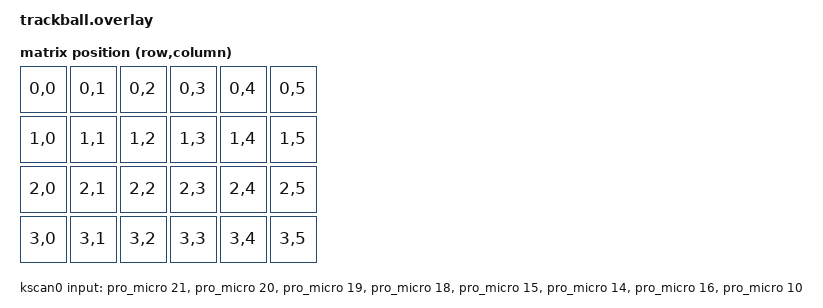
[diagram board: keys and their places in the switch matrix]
/*
 * Copyright (c) 2020 ZMK Contributors
 *
 * SPDX-License-Identifier: MIT
 */

#include <dt-bindings/zmk/matrix_transform.h>

#define INPUT_EV_KEY 0x01               /**< Key event */
#define INPUT_EV_REL 0x02               /**< Relative coordinate event */
#define INPUT_EV_ABS 0x03               /**< Absolute coordinate event */
#define INPUT_EV_MSC 0x04               /**< Miscellaneous event */
#define INPUT_EV_VENDOR_START 0xf0      /**< Vendor specific event start */
#define INPUT_EV_VENDOR_STOP 0xff       /**< Vendor specific event stop */

#define INPUT_REL_X 0x00                /**< Relative X coordinate */
#define INPUT_REL_Y 0x01                /**< Relative Y coordinate */
#define INPUT_REL_WHEEL 0x08            /**< Relative wheel coordinate */
#define INPUT_REL_HWHEEL 0x06           /**< Relative horizontal wheel coordinate */
#define INPUT_REL_MISC 0x09             /**< Relative misc coordinate */

/ {
    chosen {
        zmk,kscan = &kscan0;
        zmk,matrix-transform = &default_transform;
    };

    kscan0: kscan_0 {
        compatible = "zmk,kscan-gpio-direct";
        wakeup-source;
        label = "KSCAN";



        input-gpios
            = <&pro_micro 21 (GPIO_ACTIVE_LOW | GPIO_PULL_UP)>
            , <&pro_micro 20 (GPIO_ACTIVE_LOW | GPIO_PULL_UP)>
            , <&pro_micro 19 (GPIO_ACTIVE_LOW | GPIO_PULL_UP)>
            , <&pro_micro 18 (GPIO_ACTIVE_LOW | GPIO_PULL_UP)>
            , <&pro_micro 15 (GPIO_ACTIVE_LOW | GPIO_PULL_UP)>
            , <&pro_micro 14 (GPIO_ACTIVE_LOW | GPIO_PULL_UP)>
            , <&pro_micro 16 (GPIO_ACTIVE_LOW | GPIO_PULL_UP)>
            , <&pro_micro 10 (GPIO_ACTIVE_LOW | GPIO_PULL_UP)>
            ;
    };

    default_transform: keymap_transform_0 {
        compatible = "zmk,matrix-transform";
        columns = <6>;
        rows = <1>;
        map = <
            RC(0, 0) RC(0, 1) RC(0, 2) RC(0, 3) RC(0, 4) RC(0, 5)
            RC(1, 0) RC(1, 1) RC(1, 2) RC(1, 3) RC(1, 4) RC(1, 5)
            RC(2, 0) RC(2, 1) RC(2, 2) RC(2, 3) RC(2, 4) RC(2, 5)
            RC(3, 0) RC(3, 1) RC(3, 2) RC(3, 3) RC(3, 4) RC(3, 5)
        >;
    };
};

&pinctrl {
    spi0_default: spi0_default {
        group1 {
            psels = <NRF_PSEL(SPIM_SCK, 0, 8)>,
                <NRF_PSEL(SPIM_MOSI, 0, 6)>,
                <NRF_PSEL(SPIM_MISO, 0, 6)>;
        };
    };

    spi0_sleep: spi0_sleep {
        group1 {
            psels = <NRF_PSEL(SPIM_SCK, 0, 8)>,
                <NRF_PSEL(SPIM_MOSI, 0, 6)>,
                <NRF_PSEL(SPIM_MISO, 0, 6)>;
            low-power-enable;
        };
    };
};

&spi0 {
    status = "okay";
    compatible = "nordic,nrf-spim";
    pinctrl-0 = <&spi0_default>;
    pinctrl-1 = <&spi0_sleep>;
    pinctrl-names = "default", "sleep";
    cs-gpios = <&gpio0 17 GPIO_ACTIVE_LOW>;

    trackball: trackball@0 {
        status = "okay";
        compatible = "pixart,pmw3610";
        reg = <0>;
        spi-max-frequency = <2000000>;
        irq-gpios = <&gpio0 20 (GPIO_ACTIVE_LOW | GPIO_PULL_UP)>;
        cpi = <800>;
        evt-type = <INPUT_EV_REL>;
        x-input-code = <INPUT_REL_X>;
        y-input-code = <INPUT_REL_Y>;

        /*   optional features   */
        // snipe-layers = <1>;
        // scroll-layers = <2 3>;
        // automouse-layer = <4>;
    };
};

/ {
  trackball_listener {
    compatible = "zmk,input-listener";
    device = <&trackball>;
  };
};

